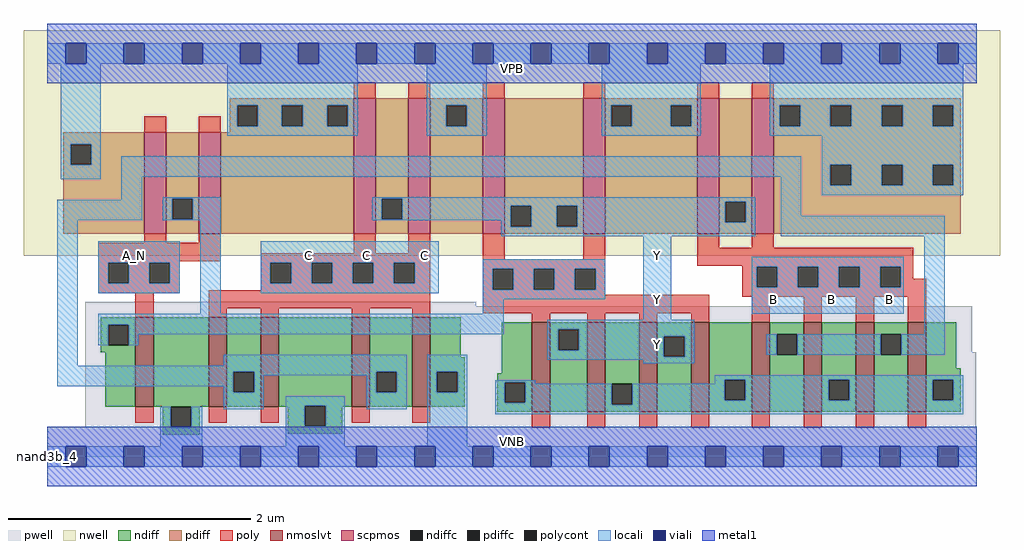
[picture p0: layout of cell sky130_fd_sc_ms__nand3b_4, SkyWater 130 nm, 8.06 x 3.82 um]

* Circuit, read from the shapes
.subckt sky130_fd_sc_ms__nand3b_4 A_N B C VGND VNB VPB VPWR Y
XM1 VGND A_N n1 VNB sky130_fd_pr__nfet_01v8_lvt w=0.74 l=0.15
XM2 n2 C VGND VNB sky130_fd_pr__nfet_01v8_lvt w=0.74 l=0.15 m=4
XM3 Y n1 n3 VNB sky130_fd_pr__nfet_01v8_lvt w=0.74 l=0.15 m=4
XM4 n2 B n3 VNB sky130_fd_pr__nfet_01v8_lvt w=0.74 l=0.15 m=4
XM5 n1 A_N VPWR VPB sky130_fd_pr__pfet_01v8 w=0.84 l=0.18 m=2
XM6 Y C VPWR VPB sky130_fd_pr__pfet_01v8 w=1.12 l=0.18 m=2
XM7 Y n1 VPWR VPB sky130_fd_pr__pfet_01v8 w=1.12 l=0.18 m=2
XM8 Y B VPWR VPB sky130_fd_pr__pfet_01v8 w=1.12 l=0.18 m=2
.ends

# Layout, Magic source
magic
tech sky130A
magscale 1 2
<< nwell >>
rect -38 332 1574 704
<< pwell >>
rect 63 248 709 256
rect 63 172 1528 248
rect 63 49 1535 172
rect 0 0 1536 49
<< scpmos >>
rect 161 368 197 536
rect 251 368 287 536
rect 507 368 543 592
rect 597 368 633 592
rect 720 368 756 592
rect 886 368 922 592
rect 1074 368 1110 592
rect 1164 368 1200 592
<< nmoslvt >>
rect 146 82 176 230
rect 267 82 297 230
rect 353 82 383 230
rect 503 82 533 230
rect 603 82 633 230
rect 801 74 831 222
rect 892 74 922 222
rect 978 74 1008 222
rect 1064 74 1094 222
rect 1164 74 1194 222
rect 1250 74 1280 222
rect 1336 74 1366 222
rect 1422 74 1452 222
<< ndiff >>
rect 89 218 146 230
rect 89 184 101 218
rect 135 184 146 218
rect 89 172 146 184
rect 96 82 146 172
rect 176 82 267 230
rect 297 140 353 230
rect 297 106 308 140
rect 342 106 353 140
rect 297 82 353 106
rect 383 84 503 230
rect 383 82 426 84
rect 191 48 204 82
rect 238 48 252 82
rect 191 36 252 48
rect 398 50 426 82
rect 460 82 503 84
rect 533 140 603 230
rect 533 106 544 140
rect 578 106 603 140
rect 533 82 603 106
rect 633 164 683 230
rect 633 140 690 164
rect 633 106 644 140
rect 678 106 690 140
rect 751 138 801 222
rect 633 82 690 106
rect 744 123 801 138
rect 744 89 756 123
rect 790 89 801 123
rect 460 50 488 82
rect 744 74 801 89
rect 831 210 892 222
rect 831 176 844 210
rect 878 176 892 210
rect 831 74 892 176
rect 922 120 978 222
rect 922 86 933 120
rect 967 86 978 120
rect 922 74 978 86
rect 1008 199 1064 222
rect 1008 165 1019 199
rect 1053 165 1064 199
rect 1008 74 1064 165
rect 1094 127 1164 222
rect 1094 93 1119 127
rect 1153 93 1164 127
rect 1094 74 1164 93
rect 1194 202 1250 222
rect 1194 168 1205 202
rect 1239 168 1250 202
rect 1194 74 1250 168
rect 1280 127 1336 222
rect 1280 93 1291 127
rect 1325 93 1336 127
rect 1280 74 1336 93
rect 1366 202 1422 222
rect 1366 168 1377 202
rect 1411 168 1422 202
rect 1366 74 1422 168
rect 1452 146 1502 222
rect 1452 127 1509 146
rect 1452 93 1463 127
rect 1497 93 1509 127
rect 1452 74 1509 93
rect 398 38 488 50
<< pdiff >>
rect 302 580 507 592
rect 302 546 314 580
rect 348 546 388 580
rect 422 546 463 580
rect 497 546 507 580
rect 302 536 507 546
rect 27 516 161 536
rect 27 482 39 516
rect 73 482 161 516
rect 27 368 161 482
rect 197 426 251 536
rect 197 392 207 426
rect 241 392 251 426
rect 197 368 251 392
rect 287 368 507 536
rect 543 426 597 592
rect 543 392 553 426
rect 587 392 597 426
rect 543 368 597 392
rect 633 580 720 592
rect 633 546 659 580
rect 693 546 720 580
rect 633 368 720 546
rect 756 414 886 592
rect 756 380 766 414
rect 800 380 842 414
rect 876 380 886 414
rect 756 368 886 380
rect 922 580 1074 592
rect 922 546 932 580
rect 966 546 1030 580
rect 1064 546 1074 580
rect 922 368 1074 546
rect 1110 421 1164 592
rect 1110 387 1120 421
rect 1154 387 1164 421
rect 1110 368 1164 387
rect 1200 580 1509 592
rect 1200 546 1210 580
rect 1244 546 1294 580
rect 1328 546 1379 580
rect 1413 546 1463 580
rect 1497 546 1509 580
rect 1200 482 1509 546
rect 1200 448 1294 482
rect 1328 448 1379 482
rect 1413 448 1463 482
rect 1497 448 1509 482
rect 1200 368 1509 448
<< ndiffc >>
rect 101 184 135 218
rect 308 106 342 140
rect 204 48 238 82
rect 426 50 460 84
rect 544 106 578 140
rect 644 106 678 140
rect 756 89 790 123
rect 844 176 878 210
rect 933 86 967 120
rect 1019 165 1053 199
rect 1119 93 1153 127
rect 1205 168 1239 202
rect 1291 93 1325 127
rect 1377 168 1411 202
rect 1463 93 1497 127
<< pdiffc >>
rect 314 546 348 580
rect 388 546 422 580
rect 463 546 497 580
rect 39 482 73 516
rect 207 392 241 426
rect 553 392 587 426
rect 659 546 693 580
rect 766 380 800 414
rect 842 380 876 414
rect 932 546 966 580
rect 1030 546 1064 580
rect 1120 387 1154 421
rect 1210 546 1244 580
rect 1294 546 1328 580
rect 1379 546 1413 580
rect 1463 546 1497 580
rect 1294 448 1328 482
rect 1379 448 1413 482
rect 1463 448 1497 482
<< poly >>
rect 507 592 543 618
rect 597 592 633 618
rect 720 592 756 618
rect 886 592 922 618
rect 1074 592 1110 618
rect 1164 592 1200 618
rect 161 536 197 562
rect 251 536 287 562
rect 161 353 197 368
rect 251 353 287 368
rect 85 323 287 353
rect 507 336 543 368
rect 597 336 633 368
rect 85 320 219 323
rect 85 286 101 320
rect 135 286 169 320
rect 203 286 219 320
rect 85 270 219 286
rect 353 320 633 336
rect 353 286 369 320
rect 403 286 437 320
rect 471 286 505 320
rect 539 286 573 320
rect 607 286 633 320
rect 353 275 633 286
rect 146 230 176 270
rect 267 245 633 275
rect 267 230 297 245
rect 353 230 383 245
rect 503 230 533 245
rect 603 230 633 245
rect 720 326 756 368
rect 886 326 922 368
rect 720 310 922 326
rect 1074 345 1110 368
rect 1164 345 1200 368
rect 1074 315 1431 345
rect 720 276 736 310
rect 770 276 804 310
rect 838 276 872 310
rect 906 276 922 310
rect 720 267 922 276
rect 1148 314 1431 315
rect 1148 280 1172 314
rect 1206 280 1240 314
rect 1274 280 1308 314
rect 1342 280 1376 314
rect 1410 294 1431 314
rect 1410 280 1452 294
rect 720 237 1094 267
rect 1148 264 1452 280
rect 146 56 176 82
rect 267 56 297 82
rect 353 56 383 82
rect 801 222 831 237
rect 892 222 922 237
rect 978 222 1008 237
rect 1064 222 1094 237
rect 1164 222 1194 264
rect 1250 222 1280 264
rect 1336 222 1366 264
rect 1422 222 1452 264
rect 503 56 533 82
rect 603 56 633 82
rect 801 48 831 74
rect 892 48 922 74
rect 978 48 1008 74
rect 1064 48 1094 74
rect 1164 48 1194 74
rect 1250 48 1280 74
rect 1336 48 1366 74
rect 1422 48 1452 74
<< polycont >>
rect 101 286 135 320
rect 169 286 203 320
rect 369 286 403 320
rect 437 286 471 320
rect 505 286 539 320
rect 573 286 607 320
rect 736 276 770 310
rect 804 276 838 310
rect 872 276 906 310
rect 1172 280 1206 314
rect 1240 280 1274 314
rect 1308 280 1342 314
rect 1376 280 1410 314
<< locali >>
rect 0 649 31 683
rect 65 649 127 683
rect 161 649 223 683
rect 257 649 319 683
rect 353 649 415 683
rect 449 649 511 683
rect 545 649 607 683
rect 641 649 703 683
rect 737 649 799 683
rect 833 649 895 683
rect 929 649 991 683
rect 1025 649 1087 683
rect 1121 649 1183 683
rect 1217 649 1279 683
rect 1313 649 1375 683
rect 1409 649 1471 683
rect 1505 649 1536 683
rect 23 516 89 649
rect 298 580 513 649
rect 298 546 314 580
rect 348 546 388 580
rect 422 546 463 580
rect 497 546 513 580
rect 298 530 513 546
rect 627 580 726 649
rect 627 546 659 580
rect 693 546 726 580
rect 627 530 726 546
rect 916 580 1080 649
rect 916 546 932 580
rect 966 546 1030 580
rect 1064 546 1080 580
rect 916 530 1080 546
rect 1194 580 1513 649
rect 1194 546 1210 580
rect 1244 546 1294 580
rect 1328 546 1379 580
rect 1413 546 1463 580
rect 1497 546 1513 580
rect 1194 530 1513 546
rect 23 482 39 516
rect 73 482 89 516
rect 23 458 89 482
rect 123 462 1246 496
rect 123 424 157 462
rect 17 390 157 424
rect 191 426 287 428
rect 191 392 207 426
rect 241 392 287 426
rect 191 390 287 392
rect 537 426 1170 428
rect 537 392 553 426
rect 587 421 1170 426
rect 587 414 1120 421
rect 587 392 766 414
rect 537 390 766 392
rect 17 150 51 390
rect 85 320 219 356
rect 85 286 101 320
rect 135 286 169 320
rect 203 286 219 320
rect 85 270 219 286
rect 253 236 287 390
rect 750 380 766 390
rect 800 380 842 414
rect 876 387 1120 414
rect 1154 387 1170 421
rect 876 380 1170 387
rect 750 364 1170 380
rect 1212 398 1246 462
rect 1280 482 1513 530
rect 1280 448 1294 482
rect 1328 448 1379 482
rect 1413 448 1463 482
rect 1497 448 1513 482
rect 1280 432 1513 448
rect 1212 364 1483 398
rect 353 320 647 356
rect 353 286 369 320
rect 403 286 437 320
rect 471 286 505 320
rect 539 286 573 320
rect 607 286 647 320
rect 353 270 647 286
rect 720 310 922 326
rect 720 276 736 310
rect 770 276 804 310
rect 838 276 872 310
rect 906 276 922 310
rect 720 260 922 276
rect 720 236 754 260
rect 85 218 754 236
rect 985 226 1031 364
rect 1164 314 1415 330
rect 1164 280 1172 314
rect 1206 280 1240 314
rect 1274 280 1308 314
rect 1342 280 1376 314
rect 1410 280 1415 314
rect 1164 236 1415 280
rect 85 184 101 218
rect 135 202 754 218
rect 826 210 1069 226
rect 135 184 151 202
rect 826 176 844 210
rect 878 199 1069 210
rect 1449 202 1483 364
rect 878 176 1019 199
rect 292 150 594 168
rect 17 140 594 150
rect 17 116 308 140
rect 292 106 308 116
rect 342 134 544 140
rect 342 106 358 134
rect 187 48 204 82
rect 238 48 256 82
rect 292 78 358 106
rect 528 106 544 134
rect 578 106 594 140
rect 394 84 492 100
rect 187 17 256 48
rect 394 50 426 84
rect 460 50 492 84
rect 528 78 594 106
rect 628 140 694 168
rect 826 165 1019 176
rect 1053 165 1069 199
rect 1189 168 1205 202
rect 1239 168 1377 202
rect 1411 168 1483 202
rect 826 160 1069 165
rect 985 154 1069 160
rect 628 106 644 140
rect 678 106 694 140
rect 1103 127 1513 134
rect 394 17 492 50
rect 628 17 694 106
rect 740 123 806 126
rect 740 89 756 123
rect 790 120 806 123
rect 1103 120 1119 127
rect 790 89 933 120
rect 740 86 933 89
rect 967 93 1119 120
rect 1153 93 1291 127
rect 1325 93 1463 127
rect 1497 93 1513 127
rect 967 86 1513 93
rect 740 70 1513 86
rect 0 -17 31 17
rect 65 -17 127 17
rect 161 -17 223 17
rect 257 -17 319 17
rect 353 -17 415 17
rect 449 -17 511 17
rect 545 -17 607 17
rect 641 -17 703 17
rect 737 -17 799 17
rect 833 -17 895 17
rect 929 -17 991 17
rect 1025 -17 1087 17
rect 1121 -17 1183 17
rect 1217 -17 1279 17
rect 1313 -17 1375 17
rect 1409 -17 1471 17
rect 1505 -17 1536 17
<< viali >>
rect 31 649 65 683
rect 127 649 161 683
rect 223 649 257 683
rect 319 649 353 683
rect 415 649 449 683
rect 511 649 545 683
rect 607 649 641 683
rect 703 649 737 683
rect 799 649 833 683
rect 895 649 929 683
rect 991 649 1025 683
rect 1087 649 1121 683
rect 1183 649 1217 683
rect 1279 649 1313 683
rect 1375 649 1409 683
rect 1471 649 1505 683
rect 31 -17 65 17
rect 127 -17 161 17
rect 223 -17 257 17
rect 319 -17 353 17
rect 415 -17 449 17
rect 511 -17 545 17
rect 607 -17 641 17
rect 703 -17 737 17
rect 799 -17 833 17
rect 895 -17 929 17
rect 991 -17 1025 17
rect 1087 -17 1121 17
rect 1183 -17 1217 17
rect 1279 -17 1313 17
rect 1375 -17 1409 17
rect 1471 -17 1505 17
<< metal1 >>
rect 0 683 1536 715
rect 0 649 31 683
rect 65 649 127 683
rect 161 649 223 683
rect 257 649 319 683
rect 353 649 415 683
rect 449 649 511 683
rect 545 649 607 683
rect 641 649 703 683
rect 737 649 799 683
rect 833 649 895 683
rect 929 649 991 683
rect 1025 649 1087 683
rect 1121 649 1183 683
rect 1217 649 1279 683
rect 1313 649 1375 683
rect 1409 649 1471 683
rect 1505 649 1536 683
rect 0 617 1536 649
rect 0 17 1536 49
rect 0 -17 31 17
rect 65 -17 127 17
rect 161 -17 223 17
rect 257 -17 319 17
rect 353 -17 415 17
rect 449 -17 511 17
rect 545 -17 607 17
rect 641 -17 703 17
rect 737 -17 799 17
rect 833 -17 895 17
rect 929 -17 991 17
rect 1025 -17 1087 17
rect 1121 -17 1183 17
rect 1217 -17 1279 17
rect 1313 -17 1375 17
rect 1409 -17 1471 17
rect 1505 -17 1536 17
rect 0 -49 1536 -17
<< labels >>
flabel pwell s 0 0 1536 49 0 FreeSans 200 0 0 0 VNB
port 5 nsew ground bidirectional
flabel nwell s 0 617 1536 666 0 FreeSans 200 0 0 0 VPB
port 6 nsew power bidirectional
rlabel comment s 0 0 0 0 4 nand3b_4
flabel metal1 s 0 617 1536 666 0 FreeSans 340 0 0 0 VPWR
port 7 nsew power bidirectional
flabel metal1 s 0 0 1536 49 0 FreeSans 340 0 0 0 VGND
port 4 nsew ground bidirectional
flabel locali s 127 316 161 350 0 FreeSans 340 0 0 0 A_N
port 1 nsew signal input
flabel locali s 415 316 449 350 0 FreeSans 340 0 0 0 C
port 3 nsew signal input
flabel locali s 511 316 545 350 0 FreeSans 340 0 0 0 C
port 3 nsew signal input
flabel locali s 607 316 641 350 0 FreeSans 340 0 0 0 C
port 3 nsew signal input
flabel locali s 1183 242 1217 276 0 FreeSans 340 0 0 0 B
port 2 nsew signal input
flabel locali s 1279 242 1313 276 0 FreeSans 340 0 0 0 B
port 2 nsew signal input
flabel locali s 1375 242 1409 276 0 FreeSans 340 0 0 0 B
port 2 nsew signal input
flabel locali s 991 168 1025 202 0 FreeSans 340 0 0 0 Y
port 8 nsew signal output
flabel locali s 991 242 1025 276 0 FreeSans 340 0 0 0 Y
port 8 nsew signal output
flabel locali s 991 316 1025 350 0 FreeSans 340 0 0 0 Y
port 8 nsew signal output
<< properties >>
string LEFsite unit
string LEFclass CORE
string FIXED_BBOX 0 0 1536 666
string GDS_FILE $PDKPATH/libs.ref/sky130_fd_sc_ms/gds/sky130_fd_sc_ms.gds
string LEFsymmetry X Y
string GDS_END 1681692
string GDS_START 1671584
<< end >>
